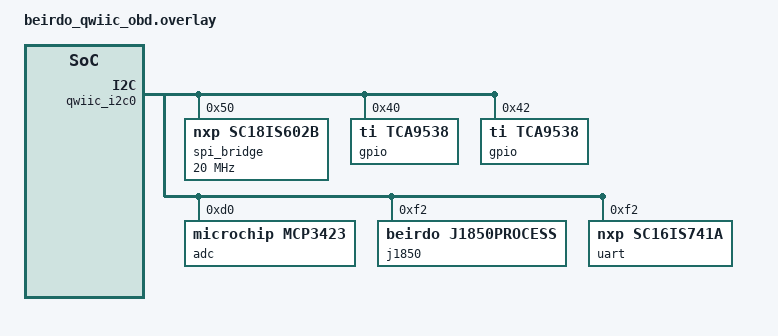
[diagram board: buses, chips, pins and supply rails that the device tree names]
&qwiic_i2c0 {
	# 0x28
	spi_bridge_shield: spi_bridge@0x50 {
		compatible = "nxp,sc18is602b";
		status = "okay";
		spi-max-frequency = <20000000>;
		reg = <0x50>;

		can0_shield: can@0 {
			compatible = "microchip,mcp2515";
			status = "okay";
			spi-max-frequency = <20000000>;
			reg = <0;1
		};
	};

	# 0x20
	gpio0_shield: gpio@0x40 {
		compatible = "ti,tca9538";
		status = "okay";
		reg = <0x40>;
	};

	# 0x21
	gpio1_shield: gpio@0x42 {
		compatible = "ti,tca9538";
		status = "okay";
		reg = <0x42>;
	};

	# 0x68
	adc_shield: adc@0xD0 {
		compatible = "microchip,mcp3423";
		status = "okay";
		reg = <0xD0>;
	};

	# 0x79
	can1_shield: j1850@0xF2 {
		compatible = "beirdo,j1850process";
		status = "okay";
		reg = <0xF2>;
	};

	# 0x4D
	uart0_shield: uart@0x9A {
		compatible = "nxp,sc16is741a";
		status = "okay";
		current-speed = <10400>;
		reg = <0xF2>;
	};
};
